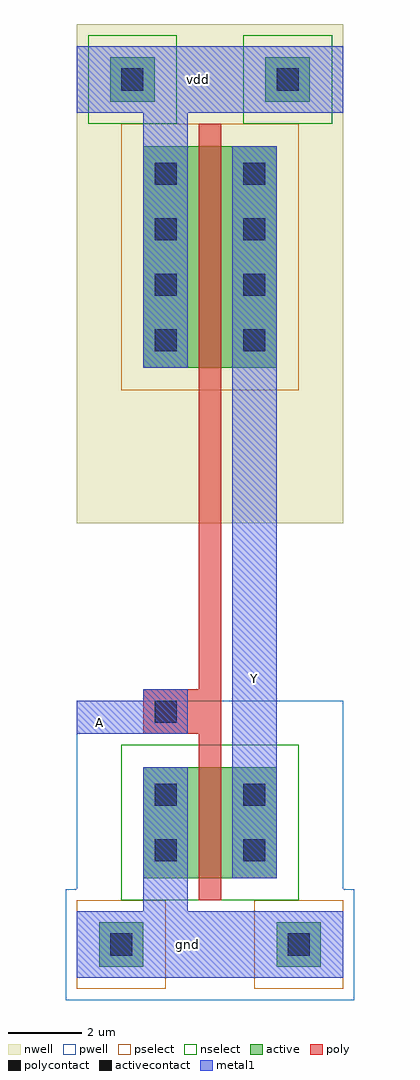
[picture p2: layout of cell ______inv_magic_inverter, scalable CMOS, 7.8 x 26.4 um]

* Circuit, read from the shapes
.subckt ______inv_magic_inverter A Y gnd vdd
M1 Y A gnd gnd nfet w=3u l=0.6u
M2 Y A vdd vdd pfet w=6u l=0.6u
.ends

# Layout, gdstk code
import gdstk
lib = gdstk.Library(unit=1e-6, precision=1e-09)
def R(c, l, rs):  # rectangles x0, y0, x1, y1
    for r in rs: c.add(gdstk.rectangle(r[:2], r[2:], *l))
def A(c, l, x, y, w, h, nx, ny, dx, dy):  # array of equal rectangles
    R(c, l, [(x+i*dx, y+j*dy, x+i*dx+w, y+j*dy+h) for i in range(nx) for j in range(ny)])
pwell = (41, 0)
nwell = (42, 0)
active = (43, 0)
pselect = (44, 0)
nselect = (45, 0)
poly = (46, 0)
polycontact = (47, 0)
activecontact = (48, 0)
metal1 = (49, 0)

c_______inv_magic_inverter = lib.new_cell('______inv_magic_inverter')
R(c_______inv_magic_inverter, pwell, [(-1.5,-0.9,6.3,2.1), (-1.2,2.1,6,7.2)])
R(c_______inv_magic_inverter, nwell, [(-1.2,12,6,25.5)])
R(c_______inv_magic_inverter, active, [(-0.6,0,0.6,1.2), (4.2,0,5.4,1.2), (0.6,2.4,4.2,5.4), (0.6,16.2,4.2,22.2), (-0.3,23.4,0.9,24.6), (3.9,23.4,5.1,24.6)])
R(c_______inv_magic_inverter, pselect, [(-1.2,-0.6,1.2,1.8), (3.6,-0.6,6,1.8), (0,15.6,4.8,22.8)])
R(c_______inv_magic_inverter, nselect, [(0,1.8,4.8,6), (-0.9,22.8,1.5,25.2), (3.3,22.8,5.7,25.2)])
R(c_______inv_magic_inverter, poly, [(2.1,1.8,2.7,6.3), (0.6,6.3,2.7,7.5), (2.1,7.5,2.7,22.8)])
R(c_______inv_magic_inverter, polycontact, [(0.9,6.6,1.5,7.2)])
A(c_______inv_magic_inverter, activecontact, 0.9, 16.65, 0.6, 0.6, 1, 4, 0, 1.5)
A(c_______inv_magic_inverter, activecontact, 3.3, 16.65, 0.6, 0.6, 1, 4, 0, 1.5)
R(c_______inv_magic_inverter, activecontact, [(-0.3,0.3,0.3,0.9), (4.5,0.3,5.1,0.9), (0.9,2.85,1.5,3.45), (3.3,2.85,3.9,3.45), (0.9,4.35,1.5,4.95), (3.3,4.35,3.9,4.95), (0,23.7,0.6,24.3), (4.2,23.7,4.8,24.3)])
R(c_______inv_magic_inverter, metal1, [(-1.2,-0.3,6,1.5), (0.6,1.5,1.8,5.4), (3,2.4,4.2,22.2), (-1.2,6.3,1.8,7.2), (0.6,7.2,1.8,7.5), (0.6,16.2,1.8,23.1), (-1.2,23.1,6,24.9)])
c_______inv_magic_inverter.add(gdstk.Label('gnd', (1.8,0.6), layer=49, texttype=0))
c_______inv_magic_inverter.add(gdstk.Label('Y', (3.6,7.8), layer=49, texttype=0))
c_______inv_magic_inverter.add(gdstk.Label('vdd', (2.1,24), layer=49, texttype=0))
c_______inv_magic_inverter.add(gdstk.Label('A', (-0.6,6.6), layer=49, texttype=0))

lib.write_gds('______inv_magic_inverter.gds')
